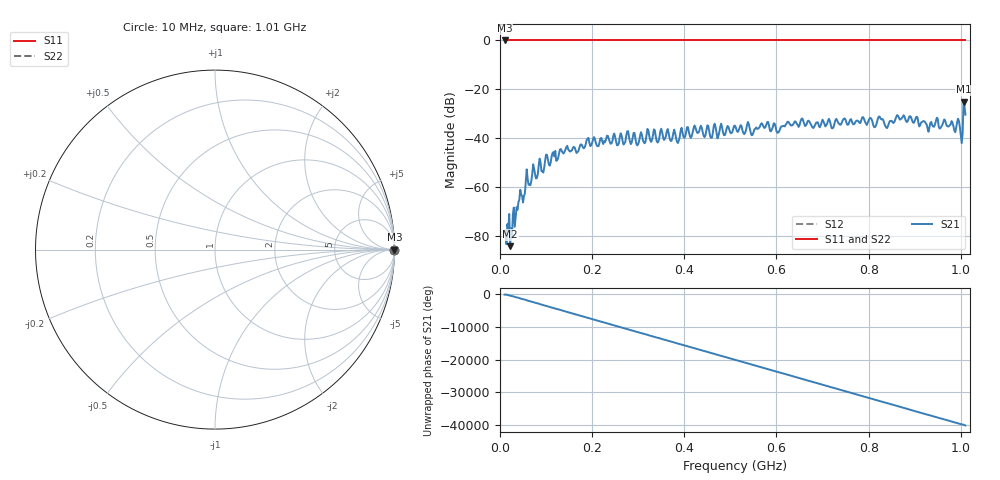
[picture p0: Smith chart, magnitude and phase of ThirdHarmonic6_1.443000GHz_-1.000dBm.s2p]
! 8/16/2025 4:41:59 PM
! C:\ANRITSUVNA\TEMP\TEMP.S2P
! CHANNEL.1
! TR.MEASUREMENT
! RAW.DATA
! RF.CORRECTION.OFF
! AVERAGING.OFF
! IF.BANDWIDTH: 5KHZ
! SWEEPTYPE:  FREQ.SWEEP(Linear)
! Reference Plane Port Info
! PORT:  PORT1  PORT2
! DISTANCE:  0  m  0  m
! TIME:  0  s  0  s
! PHASE.OFFSET:  0  deg.  0  deg.
! LOSS:  0  dB  0  dB
! REF.LOSS:  0  dB  0  dB
! REF.FREQ:  0  Hz  0  Hz
! Power Info
! POWER:  -20  dBm  -20  dBm
! EFF.POWER:  -20  dBm  -20  dBm
! SOURCE.ATTEN:  0  dB  0  dB
! TEST.ATTEN:  0  dB  0  dB
# GHZ S RI R 50.0
! FREQ.GHZ  S11RE  S11IM  S21RE  S21IM  S12RE  S12IM  S22RE  S22IM
!; PortSelection: Port_12
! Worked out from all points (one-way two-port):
!   501 points, 10 MHz to 1.01 GHz, reference 50 ohm
!   highest |S21| = -24.98 dB at 1.006 GHz (marker M1); lowest = -84.0 dB at 22 MHz (marker M2)
!   lowest |S11| = 0.0 dB at 10 MHz (marker M3)
!   |S11| at or under -10 dB: nowhere
!   |S22| runs from 0.0 to 0.0 dB; largest |S21 - S12| = 1
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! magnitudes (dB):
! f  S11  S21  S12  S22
! 10 MHz  0.0  -78.5  0.0  0.0
! 22 MHz  0.0  -84.0  0.0  0.0
! 44 MHz  0.0  -60.9  0.0  0.0
! 72 MHz  0.0  -50.6  0.0  0.0
! 116 MHz  0.0  -45.6  0.0  0.0
! 178 MHz  0.0  -42.7  0.0  0.0
! 276 MHz  0.0  -37.1  0.0  0.0
! 298 MHz  0.0  -42.8  0.0  0.0
! 322 MHz  0.0  -36.7  0.0  0.0
! 344 MHz  0.0  -41.2  0.0  0.0
! 510 MHz  0.0  -34.8  0.0  0.0
! 678 MHz  0.0  -35.5  0.0  0.0
! 788 MHz  0.0  -31.3  0.0  0.0
! 814 MHz  0.0  -35.3  0.0  0.0
! 824 MHz  0.0  -31.1  0.0  0.0
! 844 MHz  0.0  -33.8  0.0  0.0
! 862 MHz  0.0  -30.4  0.0  0.0
! 928 MHz  0.0  -36.0  0.0  0.0
! 994 MHz  0.0  -31.9  0.0  0.0
! 1 GHz  0.0  -38.7  0.0  0.0
! 1.006 GHz  0.0  -25.0  0.0  0.0
! 1.01 GHz  0.0  -30.3  0.0  0.0
